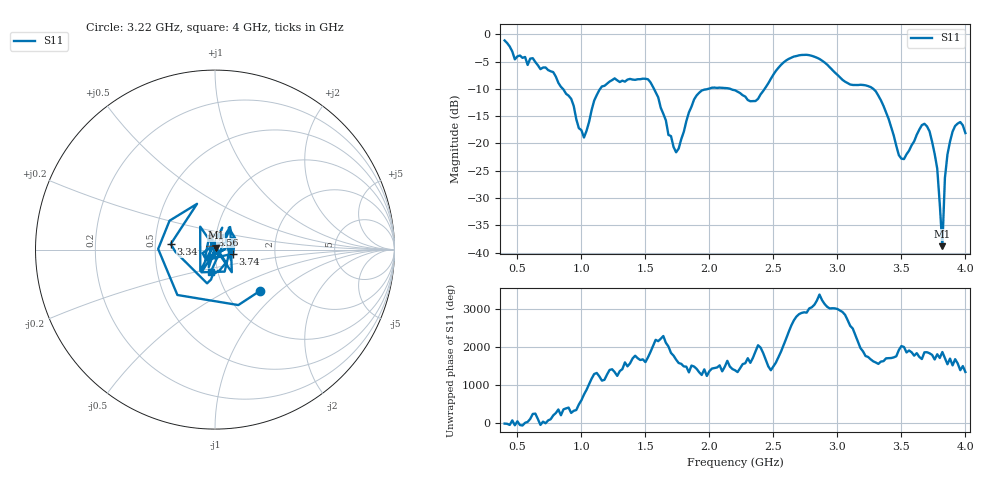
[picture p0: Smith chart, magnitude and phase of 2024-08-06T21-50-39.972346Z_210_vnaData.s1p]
!Created with skrf (http://scikit-rf.org).
# Hz S RI R 50.0
!freq ReS11 ImS11
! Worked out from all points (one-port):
!   181 points, 400 MHz to 4 GHz, reference 50 ohm
!   lowest |S11| = -38.8 dB at 3.82 GHz (marker M1), VSWR 1.02, Z = 50.5 + j1.03 ohm
!   |S11| at or under -10 dB: 855.5 MHz to 1.147 GHz (291.1 MHz wide, 29.1 % of centre); 1.567 GHz to 1.991 GHz (424.1 MHz wide, 23.8 % of centre); 3.281 GHz to end of sweep (the widest 3 of 4)
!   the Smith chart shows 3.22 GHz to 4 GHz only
!   S11 on the Smith chart (normalised r, x): 3.22 GHz: 1.45, -0.75; 3.34 GHz: 0.60, +0.04; 3.56 GHz: 0.95, +0.16; 3.74 GHz: 1.22, -0.05; 4 GHz: 0.93, -0.23
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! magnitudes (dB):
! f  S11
! 400 MHz  -1.1
! 480 MHz  -4.6
! 620 MHz  -4.4
! 860 MHz  -10.1
! 1.02 GHz  -18.9
! 1.14 GHz  -10.2
! 1.3 GHz  -8.7
! 1.52 GHz  -8.2
! 1.72 GHz  -20.7
! 1.76 GHz  -20.9
! 1.92 GHz  -10.7
! 2.2 GHz  -10.3
! 2.36 GHz  -12.2
! 2.66 GHz  -4.1
! 2.86 GHz  -4.5
! 3.1 GHz  -9.2
! 3.22 GHz  -9.4
! 3.34 GHz  -12.1
! 3.48 GHz  -22.2
! 3.56 GHz  -21.3
! 3.68 GHz  -16.4
! 3.74 GHz  -19.7
! 3.78 GHz  -24.6
! 3.82 GHz  -38.8
! 3.84 GHz  -26.3
! 3.88 GHz  -19.6
! 3.96 GHz  -16.1
! 4 GHz  -18.1
